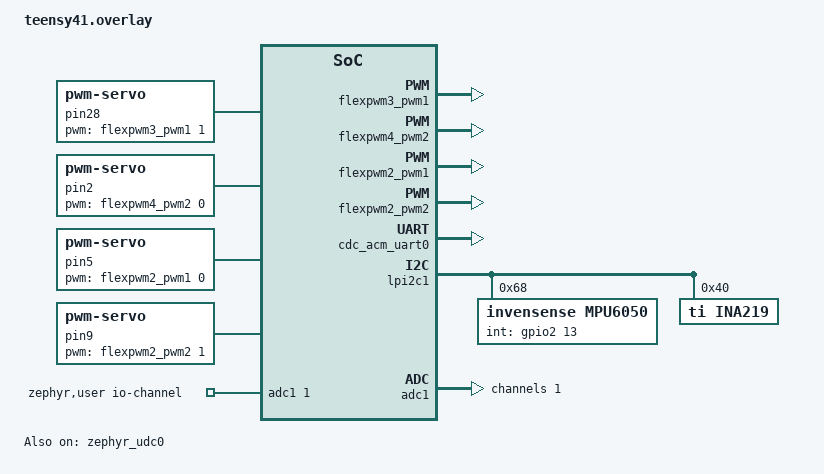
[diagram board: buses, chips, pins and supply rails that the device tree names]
/ {
	/* for pin pwms and pinmux information go to table 10-1
	https://www.pjrc.com/teensy/IMXRT1060RM_rev2.pdf */
	pin28: pin28 {
		compatible = "pwm-servo";
		pwms = <&flexpwm3_pwm1 1 PWM_HZ(50) PWM_POLARITY_NORMAL>;  
		min-pulse = <PWM_NSEC(1000000)>;
		max-pulse = <PWM_NSEC(2000000)>;
	};

	pin2: pin2 { 
		compatible = "pwm-servo";
		pwms = <&flexpwm4_pwm2 0 PWM_HZ(50) PWM_POLARITY_NORMAL>;  
		min-pulse = <PWM_NSEC(1000000)>;
		max-pulse = <PWM_NSEC(2000000)>;
	};
	
	pin5: pin5 {
		compatible = "pwm-servo";
		pwms = <&flexpwm2_pwm1 0 PWM_HZ(50) PWM_POLARITY_NORMAL>;  
		min-pulse = <PWM_NSEC(1000000)>;
		max-pulse = <PWM_NSEC(2000000)>;
	};

	pin9: pin9 {
		compatible = "pwm-servo";
		pwms = <&flexpwm2_pwm2 1 PWM_HZ(50) PWM_POLARITY_NORMAL>;  
		min-pulse = <PWM_NSEC(1000000)>;
		max-pulse = <PWM_NSEC(2000000)>;
	};

	zephyr,user {
		/* adjust channel number according to pinmux in board.dts */
		io-channels = <&adc1 1>;
	};

    chosen {
	zephyr,console = &cdc_acm_uart0;
    };

};



&pinctrl{

        pinmux_flexpwm3: pinmux_flexpwm3 {
                group0 {
                        pinmux = <&iomuxc_gpio_emc_32_flexpwm3_pwmb1>;
                        drive-strength = "r0-4";
                        bias-pull-up;
                        bias-pull-up-value = "47k";
                        slew-rate = "slow";
                        nxp,speed = "100-mhz";
                };
        };
		pinmux_flexpwm4: pinmux_flexpwm4 {
				group1 {
						pinmux = <&iomuxc_gpio_emc_04_flexpwm4_pwma2>;
						drive-strength = "r0-4";
						bias-pull-up;
						bias-pull-up-value = "47k";
						slew-rate = "slow";
						nxp,speed = "100-mhz";
				};
		};

		pinmux_flexpwm2: pinmux_flexpwm2 {
				group0 {
						pinmux = <&iomuxc_gpio_emc_08_flexpwm2_pwma1>,
								 <&iomuxc_gpio_b0_11_flexpwm2_pwmb2>;
						drive-strength = "r0-4";
						bias-pull-up;
						bias-pull-up-value = "47k";
						slew-rate = "slow";
						nxp,speed = "100-mhz";
				};
		};
	

		pinmux_adc1: pinmux_adc1 {
                group0 {
                        pinmux = <&iomuxc_gpio_ad_b0_12_adc1_in1 >;
                        drive-strength = "r0-4";
                        bias-pull-up;
                        bias-pull-up-value = "47k";
                        slew-rate = "slow";
                        nxp,speed = "100-mhz";
                };
        };


};


&flexpwm3_pwm1 {
        status = "okay";
        pinctrl-0 = <&pinmux_flexpwm3>;
        pinctrl-names = "default";
};

&flexpwm4_pwm2 {
	status = "okay";
	pinctrl-0 = <&pinmux_flexpwm4>;
	pinctrl-names = "default";
};

&flexpwm2_pwm1 {
	status = "okay";
	pinctrl-0 = <&pinmux_flexpwm2>;
	pinctrl-names = "default";
};

&flexpwm2_pwm2 {
	status = "okay";
	pinctrl-0 = <&pinmux_flexpwm2>;
	pinctrl-names = "default";
};



&zephyr_udc0 {
	compatible = "nxp,mcux-usbd";
	status = "okay";
	cdc_acm_uart0: cdc_acm_uart0{
		compatible = "zephyr,cdc-acm-uart";
	};
};


&lpi2c1 {
	status = "okay";
	mpu6050@68 {
		compatible = "invensense,mpu6050";
		reg = <0x68>;
		status = "okay";
		int-gpios = <&gpio2 13 GPIO_ACTIVE_HIGH>;
	};

	ina219@40 {
		status = "okay";
		compatible = "ti,ina219";
		reg = <0x40>;
		brng = <1>;
		pg = <3>;
		sadc = <3>;
		badc = <3>;
		shunt-milliohm = <100>;
		lsb-microamp = <100>;
	};
};

&adc1 {
	#address-cells = <1>;
	#size-cells = <0>;
	status = "okay";
	pinctrl-0 = <&pinmux_adc1>;
	pinctrl-names = "default";
	channel@1 {
		reg = <1>;
		zephyr,gain = "ADC_GAIN_1";
		zephyr,reference = "ADC_REF_INTERNAL";
		zephyr,acquisition-time = <0>;
		zephyr,resolution = <12>;
	};
};


